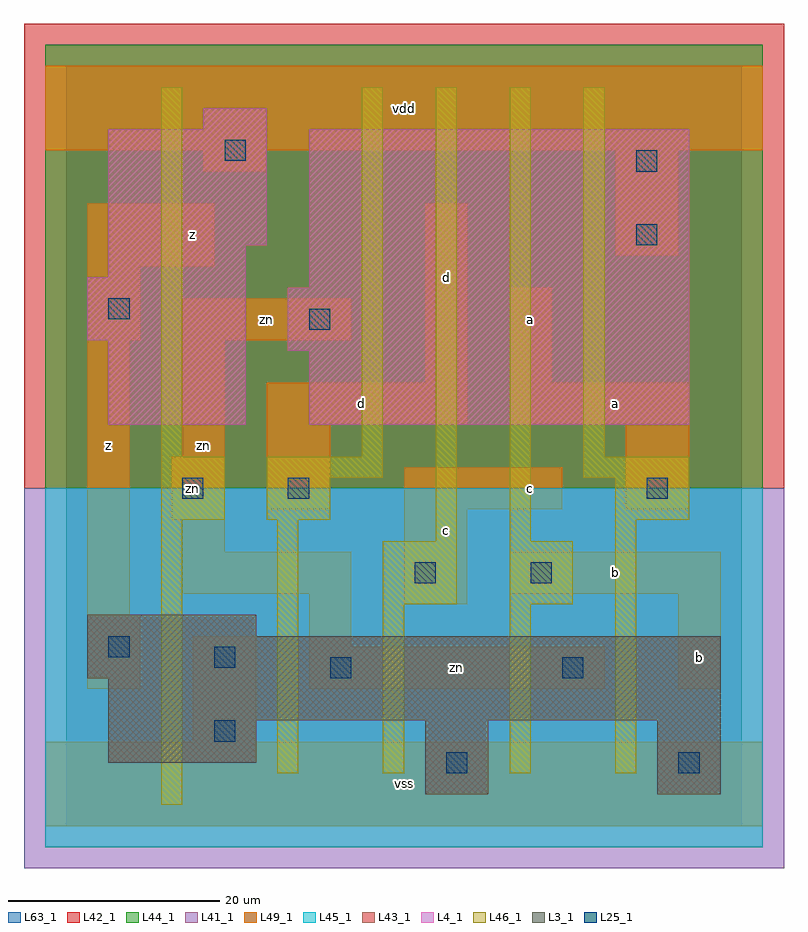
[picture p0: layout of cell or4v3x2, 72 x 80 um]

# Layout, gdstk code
import gdstk
lib = gdstk.Library(unit=1e-6, precision=1e-09)
def R(c, l, rs):  # rectangles x0, y0, x1, y1
    for r in rs: c.add(gdstk.rectangle(r[:2], r[2:], *l))
L3_1 = (3, 1)
L4_1 = (4, 1)
L25_1 = (25, 1)
L41_1 = (41, 1)
L42_1 = (42, 1)
L43_1 = (43, 1)
L44_1 = (44, 1)
L45_1 = (45, 1)
L46_1 = (46, 1)
L49_1 = (49, 1)
L63_1 = (63, 1)

or4v3x2 = lib.new_cell('or4v3x2')
R(or4v3x2, L3_1, [(34,3,40,10), (56,3,62,10), (4,6,18,10), (4,10,62,14), (2,14,62,18), (2,18,18,20)])
R(or4v3x2, L4_1, [(4,38,17,46), (23,38,59,45), (21,45,59,51), (2,46,17,52), (23,51,59,66), (4,52,17,55), (4,55,19,66), (13,66,19,68)])
R(or4v3x2, L25_1, [(36,5,38,7), (58,5,60,7), (14,8,16,10), (25,14,27,16), (47,14,49,16), (14,15,16,17), (4,16,6,18), (33,23,35,25), (44,23,46,25), (11,31,13,33), (21,31,23,33), (55,31,57,33), (23,47,25,49), (4,48,6,50), (54,55,56,57), (54,62,56,64), (15,63,17,65)])
R(or4v3x2, L41_1, [(-4,-4,68,32)])
R(or4v3x2, L42_1, [(-4,32,68,76)])
R(or4v3x2, L43_1, [(34,3,40,10), (56,3,62,10), (4,6,18,10), (4,10,62,14), (2,14,62,18), (2,18,18,20), (4,38,17,46), (23,38,59,45), (21,45,59,51), (2,46,17,52), (23,51,59,66), (4,52,17,55), (4,55,19,66), (13,66,19,68)])
R(or4v3x2, L44_1, [(-2,32,66,74)])
R(or4v3x2, L45_1, [(-2,-2,66,32)])
R(or4v3x2, L46_1, [(9,2,11,29), (20,5,22,29), (30,5,32,21), (42,5,44,21), (52,5,54,29), (30,21,37,27), (42,21,48,27), (35,27,37,70), (42,27,44,70), (9,29,15,35), (19,29,25,33), (52,29,59,33), (19,33,30,35), (49,33,59,35), (9,35,11,70), (28,35,30,70), (49,35,51,70)])
R(or4v3x2, L49_1, [(-2,0,66,8), (12,8,18,18), (2,13,7,20), (23,13,51,17), (58,13,62,22), (23,17,27,22), (2,20,6,46), (32,21,38,30), (11,22,27,26), (42,22,62,26), (11,26,15,29), (10,29,15,35), (19,30,25,38), (32,30,47,34), (53,30,59,38), (11,35,15,46), (19,38,38,42), (42,38,59,42), (34,42,38,59), (42,42,46,51), (2,46,7,53), (11,46,27,50), (2,53,14,59), (52,54,58,64), (13,62,19,64), (-2,64,66,72)])
R(or4v3x2, L63_1, [(0,0,64,72)])
or4v3x2.add(gdstk.Label('zn', (12,32), layer=49, texttype=1))
or4v3x2.add(gdstk.Label('z', (4,36), layer=49, texttype=1))
or4v3x2.add(gdstk.Label('z', (12,56), layer=49, texttype=1))
or4v3x2.add(gdstk.Label('d', (28,40), layer=49, texttype=1))
or4v3x2.add(gdstk.Label('zn', (13,36), layer=49, texttype=1))
or4v3x2.add(gdstk.Label('zn', (19,48), layer=49, texttype=1))
or4v3x2.add(gdstk.Label('vss', (32,4), layer=49, texttype=1))
or4v3x2.add(gdstk.Label('c', (36,28), layer=49, texttype=1))
or4v3x2.add(gdstk.Label('c', (44,32), layer=49, texttype=1))
or4v3x2.add(gdstk.Label('d', (36,52), layer=49, texttype=1))
or4v3x2.add(gdstk.Label('a', (44,48), layer=49, texttype=1))
or4v3x2.add(gdstk.Label('vdd', (32,68), layer=49, texttype=1))
or4v3x2.add(gdstk.Label('zn', (37,15), layer=49, texttype=1))
or4v3x2.add(gdstk.Label('b', (60,16), layer=49, texttype=1))
or4v3x2.add(gdstk.Label('b', (52,24), layer=49, texttype=1))
or4v3x2.add(gdstk.Label('a', (52,40), layer=49, texttype=1))

lib.write_gds('or4v3x2.gds')
